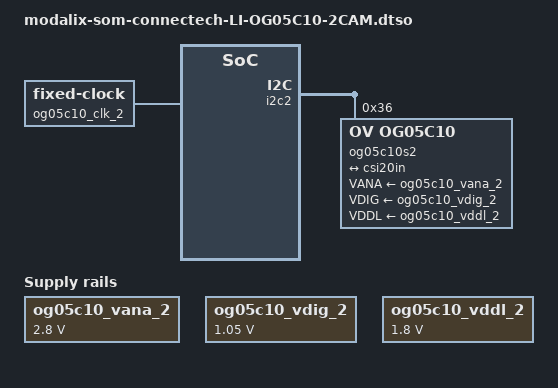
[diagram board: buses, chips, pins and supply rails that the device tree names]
// SPDX-License-Identifier: (GPL-2.0+ OR MIT)
/*
 * Copyright (c) 2026 SiMa ai
 */

/dts-v1/;
/plugin/;

#include "modalix-som-connectech-2CAM.dtsi"

&{/} {
    og05c10_vana_2: csi2_fixedregulator@0 {
        compatible = "regulator-fixed";
        regulator-name = "og05c10_vana_2";
        regulator-min-microvolt = <2800000>;
        regulator-max-microvolt = <2800000>;
        enable-active-high;
        startup-delay-us = <300000>;
        regulator-always-on;
    };

    og05c10_vdig_2: csi2_fixedregulator@1 {
        compatible = "regulator-fixed";
        regulator-name = "og05c10_vdig_2";
        regulator-min-microvolt = <1050000>;
        regulator-max-microvolt = <1050000>;
        regulator-always-on;
    };

    og05c10_vddl_2: csi2_fixedregulator@2 {
        compatible = "regulator-fixed";
        regulator-name = "og05c10_vddl_2";
        regulator-min-microvolt = <1800000>;
        regulator-max-microvolt = <1800000>;
        regulator-always-on;
    };

    og05c10_clk_2: csi2_camera-clk {
        compatible = "fixed-clock";
        #clock-cells = <0>;
        clock-frequency = <24000000>;
    };
};

&csi20in {
    clock-lanes = <0>;
    data-lanes = <1 2>;
    link-frequencies = /bits/ 64 <424000000>;
    remote-endpoint = <&cam20out>;
    clock-continuous;
};

&i2c2 {
        og05c10s2: og05c10@36 {
                compatible = "OV,og05c10";
                reg = <0x36>;

                clocks = <&og05c10_clk_2>;
                clock-names = "xclk";

                VANA-supply = <&og05c10_vana_2>;
                VDIG-supply = <&og05c10_vdig_2>;
                VDDL-supply = <&og05c10_vddl_2>;

                port@1 {
                        cam20out: endpoint@0 {
                                clock-lanes = <0>;
                                data-lanes = <1 2>;
                                link-frequencies = /bits/ 64 <424000000>;
                                remote-endpoint = <&csi20in>;
                                clock-continuous;
                        };
                };
        };
};
